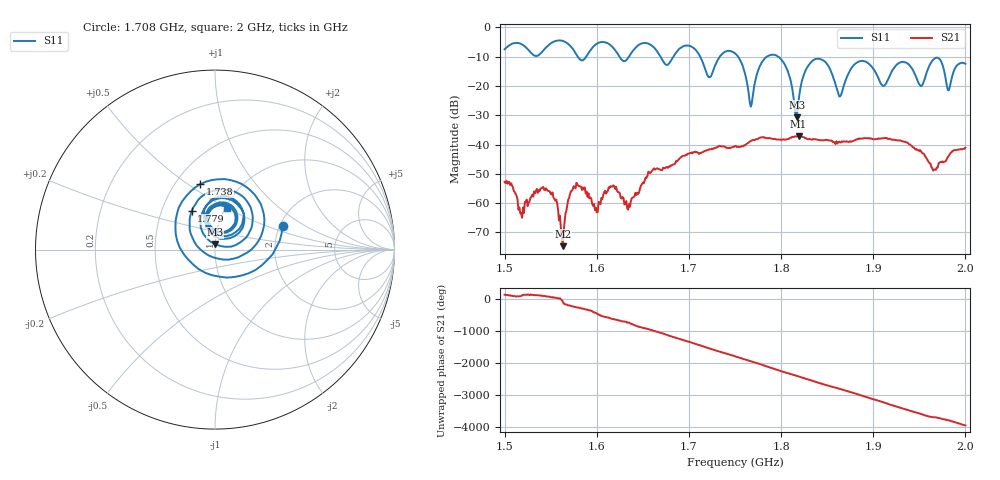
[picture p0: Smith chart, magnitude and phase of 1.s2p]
! NanoVNA-App by SYSJOINT et al v1.1.209 (+OD18)
! Date: 2026-01-21 14:17:17
! Start: 1,5GHz Stop: 2GHz Points: 501
! S-Parameter data: F S11 S21 S12 S22
# Hz S RI R 50
!  Frequency  S11_Real  S11_Imag  S21_Real  S21_Imag  S12_Real  S12_Imag  S22_Real  S22_Imag
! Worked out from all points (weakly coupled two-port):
!   501 points, 1.5 GHz to 2 GHz, reference 50 ohm
!   highest |S21| = -37.04 dB at 1.819 GHz (marker M1); lowest = -74.7 dB at 1.563 GHz (marker M2)
!   lowest |S11| = -30.7 dB at 1.817 GHz (marker M3), VSWR 1.06, Z = 49.9 + j2.93 ohm
!   |S11| at or under -10 dB: 1.712 GHz to 1.733 GHz (21.24 MHz wide, 1.23 % of centre); 1.753 GHz to 1.785 GHz (31.24 MHz wide, 1.77 % of centre); 1.797 GHz to end of sweep (the widest 3 of 6)
!   S12 and S22 are empty: the file has one direction only
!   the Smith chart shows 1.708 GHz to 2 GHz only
!   S11 on the Smith chart (normalised r, x): 1.708 GHz: 2.07, +0.66; 1.738 GHz: 0.66, +0.56; 1.779 GHz: 0.71, +0.33; 2 GHz: 1.02, +0.50
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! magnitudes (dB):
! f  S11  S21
! 1.5 GHz  -7.5  -52.8
! 1.519 GHz  -5.9  -65.0
! 1.55 GHz  -5.5  -56.9
! 1.563 GHz  -4.6  -74.7
! 1.584 GHz  -11.2  -55.5
! 1.635 GHz  -10.0  -60.2
! 1.667 GHz  -8.9  -48.3
! 1.708 GHz  -8.0  -42.6
! 1.738 GHz  -8.6  -40.7
! 1.75 GHz  -8.9  -40.5
! 1.767 GHz  -27.0  -38.8
! 1.779 GHz  -12.0  -37.5
! 1.802 GHz  -11.7  -38.2
! 1.817 GHz  -30.7  -37.3
! 1.819 GHz  -24.9  -37.0
! 1.834 GHz  -11.5  -38.3
! 1.864 GHz  -23.6  -39.3
! 1.885 GHz  -11.6  -38.0
! 1.917 GHz  -17.1  -38.0
! 1.966 GHz  -10.8  -48.6
! 1.982 GHz  -21.5  -43.8
! 2 GHz  -12.4  -41.1
